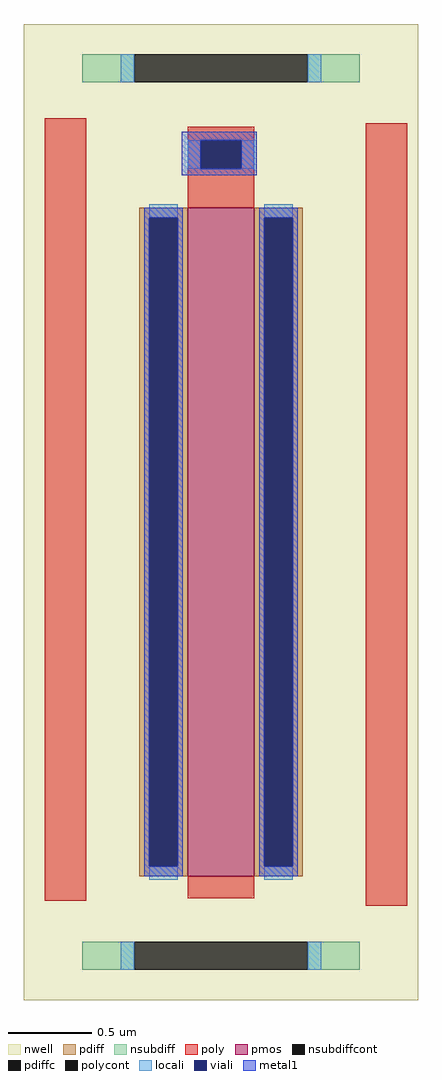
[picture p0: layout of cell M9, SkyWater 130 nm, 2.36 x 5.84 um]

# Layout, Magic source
magic
tech sky130B
magscale 1 2
<< nwell >>
rect -236 -584 236 584
<< pmos >>
rect -40 -436 40 364
<< pdiff >>
rect -98 352 -40 364
rect -98 -424 -86 352
rect -52 -424 -40 352
rect -98 -436 -40 -424
rect 40 352 98 364
rect 40 -424 52 352
rect 86 -424 98 352
rect 40 -436 98 -424
<< pdiffc >>
rect -86 -424 -52 352
rect 52 -424 86 352
<< nsubdiff >>
rect -166 514 -104 548
rect 104 514 166 548
rect -166 -548 -104 -514
rect 104 -548 166 -514
<< nsubdiffcont >>
rect -104 514 104 548
rect -104 -548 104 -514
<< poly >>
rect -211 -465 -161 471
rect -40 445 40 461
rect -40 411 -24 445
rect 24 411 40 445
rect -40 364 40 411
rect -40 -462 40 -436
rect 173 -471 223 465
<< polycont >>
rect -24 411 24 445
<< locali >>
rect -120 514 -104 548
rect 104 514 120 548
rect -40 411 -24 445
rect 24 411 40 445
rect -86 352 -52 368
rect -86 -440 -52 -424
rect 52 352 86 368
rect 52 -440 86 -424
rect -120 -548 -104 -514
rect 104 -548 120 -514
<< viali >>
rect -24 411 24 445
rect -86 -424 -52 352
rect 52 -424 86 352
<< metal1 >>
rect -47 445 43 455
rect -47 411 -24 445
rect 24 411 43 445
rect -47 403 43 411
rect -92 352 -46 364
rect -92 -424 -86 352
rect -52 -424 -46 352
rect -92 -436 -46 -424
rect 46 352 92 364
rect 46 -424 52 352
rect 86 -424 92 352
rect 46 -436 92 -424
<< properties >>
string FIXED_BBOX -183 -531 183 531
string gencell sky130_fd_pr__pfet_01v8
string library sky130
string parameters w 4 l .4 m 1 nf 1 diffcov 100 polycov 100 guard 1 glc 0 grc 0 gtc 1 gbc 1 tbcov 100 rlcov 100 topc 1 botc 0 poverlap 0 doverlap 1 lmin 0.15 wmin 0.42 compatible {sky130_fd_pr__pfet_01v8  sky130_fd_pr__pfet_01v8_lvt sky130_fd_pr__pfet_01v8_hvt  sky130_fd_pr__pfet_g5v0d10v5} full_metal 0 viasrc 100 viadrn 100 viagate 100 viagb 0 viagr 0 viagl 0 viagt 0
<< end >>
